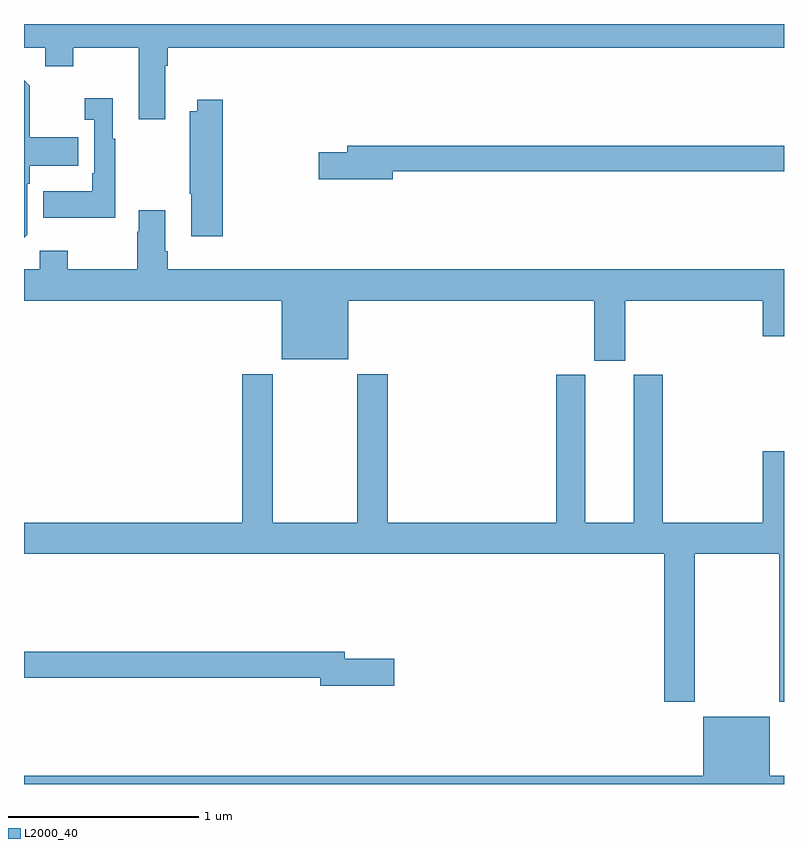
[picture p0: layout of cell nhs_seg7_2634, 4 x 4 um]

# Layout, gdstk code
import gdstk
lib = gdstk.Library(unit=1e-6, precision=1e-09)
def P(c, l, *ps):  # polygons
    for p in ps: c.add(gdstk.Polygon(p, *l))
L2000_40 = (2000, 40)

nhs_seg7_2634 = lib.new_cell('nhs_seg7_2634')
P(nhs_seg7_2634, L2000_40, [(281.743,1073.78),(281.756,1073.78),(281.756,1073.876),(285,1073.876),(285,1074),(281,1074),(281,1073.876),(281.111,1073.876),(281.111,1073.777),(281.259,1073.777),(281.259,1073.876),(281.603,1073.876),(281.603,1073.499),(281.743,1073.499)],
  [(281.016,1072.89),(281.016,1073.159),(281.029,1073.159),(281.029,1073.255),(281.285,1073.255),(281.285,1073.403),(281.029,1073.403),(281.029,1073.675),(281,1073.704),(281,1072.874)],
  [(281.479,1073.395),(281.467,1073.395),(281.467,1073.608),(281.319,1073.608),(281.319,1073.495),(281.37,1073.495),(281.37,1073.215),(281.358,1073.215),(281.358,1073.119),(281.101,1073.119),(281.101,1072.979),(281.479,1072.979)],
  [(282.047,1073.602),(281.912,1073.602),(281.912,1073.542),(281.872,1073.542),(281.872,1073.107),(281.879,1073.107),(281.879,1072.884),(282.047,1072.884)],
  [(282.94,1073.224),(285,1073.224),(285,1073.36),(282.701,1073.36),(282.701,1073.324),(282.552,1073.324),(282.552,1073.182),(282.94,1073.182)],
  [(284.164,1072.544),(284.888,1072.544),(284.888,1072.356),(285,1072.356),(285,1072.708),(281.756,1072.708),(281.756,1072.804),(281.743,1072.804),(281.743,1073.02),(281.603,1073.02),(281.603,1072.907),(281.596,1072.907),(281.596,1072.708),(281.229,1072.708),(281.229,1072.807),(281.082,1072.807),(281.082,1072.708),(281,1072.708),(281,1072.544),(282.356,1072.544),(282.356,1072.235),(282.706,1072.235),(282.706,1072.544),(284,1072.544),(284,1072.227),(284.164,1072.227)],
  [(284.529,1071.212),(284.974,1071.212),(284.974,1070.433),(285,1070.433),(285,1071.751),(284.888,1071.751),(284.888,1071.376),(284.363,1071.376),(284.363,1072.155),(284.21,1072.155),(284.21,1071.376),(283.954,1071.376),(283.954,1072.155),(283.802,1072.155),(283.802,1071.376),(282.914,1071.376),(282.914,1072.156),(282.754,1072.156),(282.754,1071.376),(282.309,1071.376),(282.309,1072.156),(282.149,1072.156),(282.149,1071.376),(281,1071.376),(281,1071.212),(284.369,1071.212),(284.369,1070.433),(284.529,1070.433)],
  [(282.949,1070.66),(282.688,1070.66),(282.688,1070.696),(281,1070.696),(281,1070.56),(282.56,1070.56),(282.56,1070.518),(282.949,1070.518)],
  [(285,1070.044),(284.926,1070.044),(284.926,1070.353),(284.576,1070.353),(284.576,1070.044),(281,1070.044),(281,1070),(285,1070)])

lib.write_gds('nhs_seg7_2634.gds')
